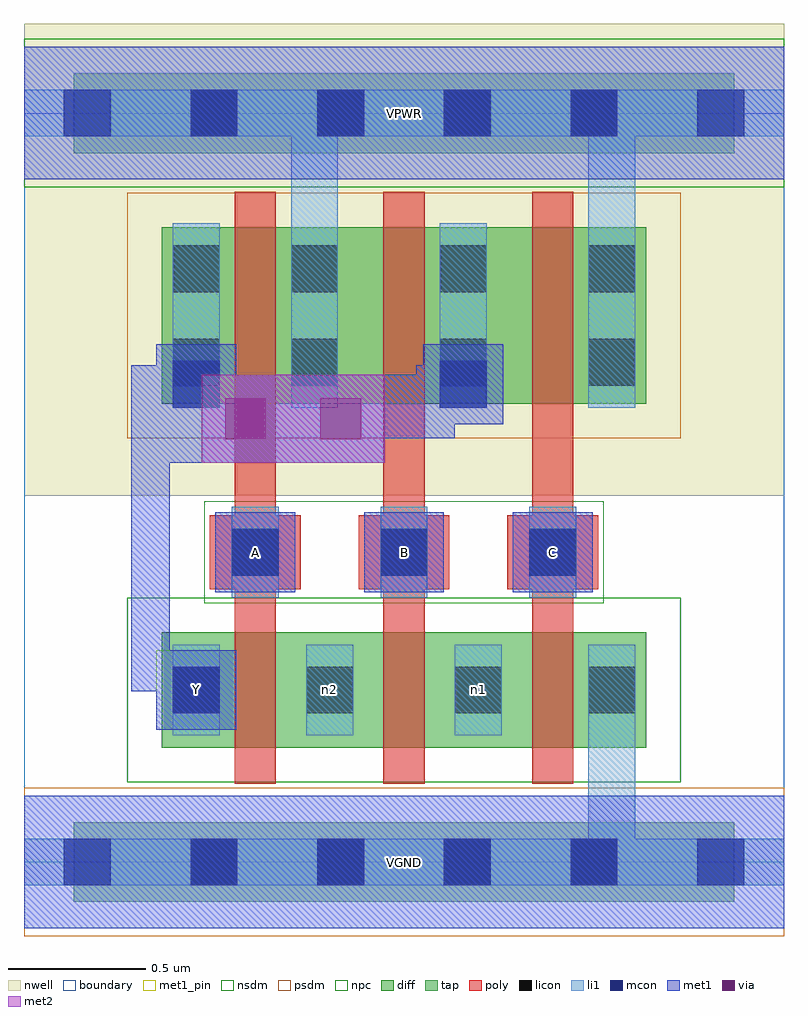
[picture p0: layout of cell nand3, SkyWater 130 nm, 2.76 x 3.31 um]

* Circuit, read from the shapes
.subckt nand3 A B C VGND VPWR Y n1 n2
XM1 n2 A Y VGND sky130_fd_pr__nfet_01v8 w=0.42 l=0.15
XM2 n1 B n2 VGND sky130_fd_pr__nfet_01v8 w=0.42 l=0.15
XM3 VGND C n1 VGND sky130_fd_pr__nfet_01v8 w=0.42 l=0.15
XM4 VPWR A Y VPWR sky130_fd_pr__pfet_01v8 w=0.64 l=0.15
XM5 Y B VPWR VPWR sky130_fd_pr__pfet_01v8 w=0.64 l=0.15
XM6 VPWR C Y VPWR sky130_fd_pr__pfet_01v8 w=0.64 l=0.15
.ends

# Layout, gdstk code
import gdstk
lib = gdstk.Library(unit=1e-6, precision=1e-09)
def R(c, l, rs):  # rectangles x0, y0, x1, y1
    for r in rs: c.add(gdstk.rectangle(r[:2], r[2:], *l))
def A(c, l, x, y, w, h, nx, ny, dx, dy):  # array of equal rectangles
    R(c, l, [(x+i*dx, y+j*dy, x+i*dx+w, y+j*dy+h) for i in range(nx) for j in range(ny)])
nwell = (64, 20)
diff = (65, 20)
tap = (65, 44)
poly = (66, 20)
licon = (66, 44)
li1 = (67, 20)
mcon = (67, 44)
met1_pin = (68, 16)
met1 = (68, 20)
via = (68, 44)
met2 = (69, 20)
nsdm = (93, 44)
psdm = (94, 20)
npc = (95, 20)
boundary = (235, 4)

nand3 = lib.new_cell('nand3')
R(nand3, nwell, [(0,1.33,2.76,3.045)])
R(nand3, diff, [(0.5,0.415,2.26,0.835), (0.5,1.665,2.26,2.305)])
R(nand3, tap, [(0.18,-0.145,2.58,0.145), (0.18,2.575,2.58,2.865)])
A(nand3, poly, 0.765, 0.285, 0.15, 2.15, 3, 1, 0.54, 0)
A(nand3, poly, 0.675, 0.99, 0.33, 0.27, 3, 1, 0.54, 0)
A(nand3, licon, 0.605, -0.085, 0.17, 0.17, 4, 2, 0.46, 2.72)
A(nand3, licon, 0.755, 1.04, 0.17, 0.17, 3, 1, 0.54, 0)
A(nand3, licon, 0.97, 1.73, 0.17, 0.17, 3, 2, 0.54, 0.34)
R(nand3, licon, [(0.54,0.54,0.71,0.71), (1.025,0.54,1.195,0.71), (1.565,0.54,1.735,0.71), (2.05,0.54,2.22,0.71), (0.54,1.73,0.71,1.9), (0.54,2.07,0.71,2.24)])
A(nand3, li1, 0.755, 0.96, 0.17, 0.33, 3, 1, 0.54, 0)
A(nand3, li1, 0.97, 1.65, 0.17, 0.67, 3, 1, 0.54, 0)
R(nand3, li1, [(0,-0.085,2.76,0.085), (2.05,-0.085,2.22,0.79), (0.54,0.46,0.71,0.79), (1.025,0.46,1.195,0.79), (1.565,0.46,1.735,0.79), (2.05,0.46,2.22,0.79), (0.54,1.65,0.71,2.32), (0.97,1.65,1.14,2.805), (2.05,1.65,2.22,2.805), (0,2.635,2.76,2.805)])
A(nand3, mcon, 0.145, -0.085, 0.17, 0.17, 6, 2, 0.46, 2.72)
A(nand3, mcon, 0.755, 1.04, 0.17, 0.17, 3, 1, 0.54, 0)
R(nand3, mcon, [(0.54,0.54,0.71,0.71), (0.54,1.65,0.71,1.82), (1.51,1.65,1.68,1.82)])
A(nand3, met1_pin, 0.695, 0.98, 0.29, 0.29, 3, 1, 0.54, 0)
R(nand3, met1_pin, [(0,-0.24,2.76,0.24), (0.48,0.48,0.77,0.77), (0,2.48,2.76,2.96)])
A(nand3, met1, 0.695, 0.98, 0.29, 0.29, 3, 1, 0.54, 0)
R(nand3, met1, [(0,-0.24,2.76,0.24), (0.48,0.48,0.77,0.77), (0.39,0.62,0.645,0.76), (0.39,0.62,0.53,1.68), (0.505,0.62,0.645,0.76), (0.53,1.45,0.645,1.68), (0.645,1.45,0.965,1.77), (0.965,1.45,0.99,1.77), (0.99,1.45,1.31,1.77), (0.39,1.54,0.53,1.805), (0.39,1.54,0.875,1.68), (0.53,1.54,0.645,1.77), (0.875,1.54,0.99,1.68), (0.965,1.54,1.08,1.68), (1.08,1.54,1.565,1.68), (1.31,1.54,1.425,1.77), (1.425,1.54,1.565,1.805), (0.48,1.59,0.77,1.88), (1.45,1.59,1.74,1.88), (0.39,1.665,0.695,1.805), (1.31,1.665,1.425,1.77), (1.425,1.665,1.665,1.805), (0,2.48,2.76,2.96)])
R(nand3, via, [(0.73,1.535,0.88,1.685), (1.075,1.535,1.225,1.685)])
R(nand3, met2, [(0.645,1.45,0.965,1.77), (0.965,1.45,0.99,1.77), (0.99,1.45,1.31,1.77), (0.735,1.54,1.22,1.68)])
R(nand3, nsdm, [(0.375,0.29,2.385,0.96), (0,2.45,2.76,2.99)])
R(nand3, psdm, [(0,-0.27,2.76,0.27), (0.375,1.54,2.385,2.43)])
R(nand3, npc, [(0.655,0.94,2.105,1.31)])
R(nand3, boundary, [(0,0,2.76,2.72)])
nand3.add(gdstk.Label('n2', (1.11,0.625), layer=67, texttype=5))
nand3.add(gdstk.Label('n1', (1.65,0.625), layer=67, texttype=5))
nand3.add(gdstk.Label('A', (0.84,1.125), layer=68, texttype=5))
nand3.add(gdstk.Label('B', (1.38,1.125), layer=68, texttype=5))
nand3.add(gdstk.Label('C', (1.92,1.125), layer=68, texttype=5))
nand3.add(gdstk.Label('Y', (0.625,0.625), layer=68, texttype=5))
nand3.add(gdstk.Label('VPWR', (1.38,2.72), layer=68, texttype=5))
nand3.add(gdstk.Label('VGND', (1.38,0), layer=68, texttype=5))
nand3.add(gdstk.Label('A', (0.84,1.125), layer=68, texttype=16))
nand3.add(gdstk.Label('B', (1.38,1.125), layer=68, texttype=16))
nand3.add(gdstk.Label('C', (1.92,1.125), layer=68, texttype=16))
nand3.add(gdstk.Label('Y', (0.625,0.625), layer=68, texttype=16))
nand3.add(gdstk.Label('VPWR', (1.38,2.72), layer=68, texttype=16))
nand3.add(gdstk.Label('VGND', (1.38,0), layer=68, texttype=16))

lib.write_gds('nand3.gds')
